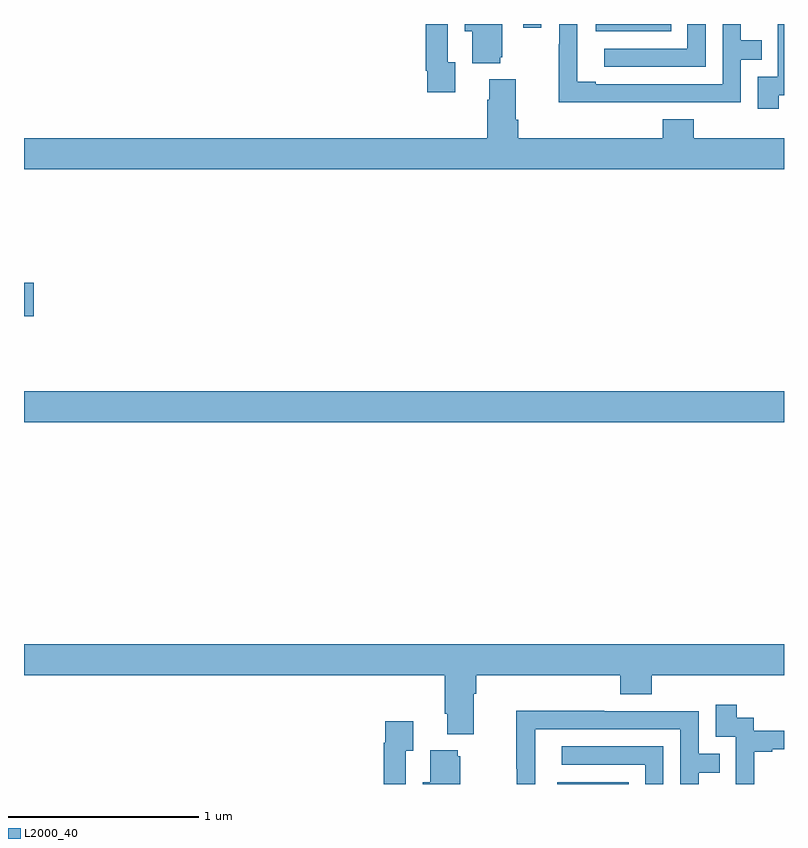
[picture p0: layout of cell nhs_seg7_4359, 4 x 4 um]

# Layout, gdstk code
import gdstk
lib = gdstk.Library(unit=1e-6, precision=1e-09)
def R(c, l, rs):  # rectangles x0, y0, x1, y1
    for r in rs: c.add(gdstk.rectangle(r[:2], r[2:], *l))
def P(c, l, *ps):  # polygons
    for p in ps: c.add(gdstk.Polygon(p, *l))
L2000_40 = (2000, 40)

nhs_seg7_4359 = lib.new_cell('nhs_seg7_4359')
R(nhs_seg7_4359, L2000_40, [(387.806,1044,388.184,1044.01), (385,1045.904,389,1046.068), (385,1046.461,385.051,1046.639), (388.01,1047.962,388.406,1048), (387.627,1047.981,387.723,1048)])
P(nhs_seg7_4359, L2000_40, [(387.271,1047.798),(387.231,1047.798),(387.231,1048),(387.115,1048),(387.115,1047.754),(387.123,1047.754),(387.123,1047.642),(387.271,1047.642)],
  [(388.277,1047.588),(388.773,1047.588),(388.773,1047.813),(388.883,1047.813),(388.883,1047.914),(388.773,1047.914),(388.773,1048),(388.677,1048),(388.677,1047.684),(388.009,1047.684),(388.009,1047.697),(387.912,1047.697),(387.912,1048),(387.816,1048),(387.816,1047.893),(387.814,1047.893),(387.814,1047.587),(388.277,1047.587)],
  [(388.972,1047.625),(389,1047.625),(389,1048),(388.967,1048),(388.967,1047.953),(388.968,1047.953),(388.968,1047.723),(388.863,1047.723),(388.863,1047.555),(388.972,1047.555)],
  [(388.587,1048),(388.491,1048),(388.491,1047.87),(388.053,1047.87),(388.053,1047.774),(388.587,1047.774)],
  [(387.506,1047.825),(387.517,1047.825),(387.517,1048),(387.32,1048),(387.32,1047.962),(387.359,1047.962),(387.359,1047.794),(387.506,1047.794)],
  [(389,1047.4),(388.526,1047.4),(388.526,1047.499),(388.361,1047.499),(388.361,1047.4),(387.602,1047.4),(387.602,1047.496),(387.589,1047.496),(387.589,1047.709),(387.449,1047.709),(387.449,1047.602),(387.437,1047.602),(387.437,1047.4),(385,1047.4),(385,1047.236),(389,1047.236)],
  [(387.367,1044.476),(387.38,1044.476),(387.38,1044.572),(388.139,1044.572),(388.139,1044.473),(388.304,1044.473),(388.304,1044.572),(389,1044.572),(389,1044.736),(385,1044.736),(385,1044.572),(387.215,1044.572),(387.215,1044.37),(387.227,1044.37),(387.227,1044.263),(387.367,1044.263)],
  [(388.844,1044.171),(388.939,1044.171),(388.939,1044.183),(389,1044.183),(389,1044.279),(388.842,1044.279),(388.842,1044.348),(388.75,1044.348),(388.75,1044.418),(388.641,1044.418),(388.641,1044.249),(388.746,1044.249),(388.746,1044.02),(388.745,1044.02),(388.745,1044),(388.844,1044)],
  [(387.69,1044.288),(388.455,1044.288),(388.455,1044),(388.551,1044),(388.551,1044.058),(388.661,1044.058),(388.661,1044.159),(388.551,1044.159),(388.551,1044.384),(388.055,1044.384),(388.055,1044.386),(387.592,1044.386),(387.592,1044.079),(387.594,1044.079),(387.594,1044),(387.69,1044)],
  [(387.009,1044.175),(387.049,1044.175),(387.049,1044.331),(386.901,1044.331),(386.901,1044.218),(386.893,1044.218),(386.893,1044),(387.009,1044)],
  [(388.365,1044.198),(387.831,1044.198),(387.831,1044.102),(388.269,1044.102),(388.269,1044),(388.365,1044)],
  [(387.295,1044.147),(387.284,1044.147),(387.284,1044.178),(387.137,1044.178),(387.137,1044.01),(387.098,1044.01),(387.098,1044),(387.295,1044)])

lib.write_gds('nhs_seg7_4359.gds')
